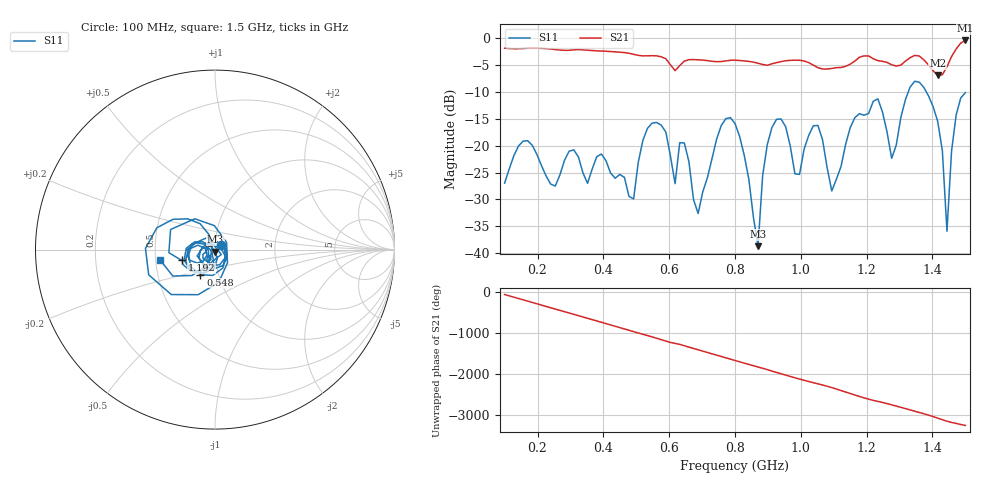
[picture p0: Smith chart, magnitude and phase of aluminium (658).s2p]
! NanoVNA-App
! Date: 2025-09-25 15:00:24
! Start: 100MHz Stop: 1,5GHz Points: 101
! S-Parameter data: F S11 S21 S12 S22
# Hz S RI R 50
!  Frequency  S11_Real  S11_Imag  S21_Real  S21_Imag  S12_Real  S12_Imag  S22_Real  S22_Imag
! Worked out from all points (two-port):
!   101 points, 100 MHz to 1.5 GHz, reference 50 ohm
!   highest |S21| = -0.49 dB at 1.5 GHz (marker M1); lowest = -7.0 dB at 1.416 GHz (marker M2)
!   |S21| within 3 dB of the highest: start of sweep to 573 MHz; 1.458 GHz to end of sweep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
!   lowest |S11| = -38.7 dB at 870 MHz (marker M3), VSWR 1.02, Z = 50.2 - j1.16 ohm
!   |S11| at or under -10 dB: start of sweep to 1.327 GHz; 1.381 GHz to end of sweep
!   S12 and S22 are empty: the file has one direction only
!   S11 on the Smith chart (normalised r, x): 100 MHz: 1.07, +0.06; 548 MHz: 0.82, -0.23; 1.192 GHz: 0.69, -0.08; 1.5 GHz: 0.53, -0.07
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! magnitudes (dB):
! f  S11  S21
! 100 MHz  -27.0  -1.9
! 156 MHz  -19.2  -2.0
! 338 MHz  -25.1  -2.2
! 492 MHz  -29.9  -3.1
! 548 MHz  -15.8  -3.3
! 576 MHz  -16.2  -3.5
! 646 MHz  -19.5  -4.3
! 688 MHz  -32.6  -4.1
! 800 MHz  -15.9  -4.1
! 870 MHz  -38.7  -4.7
! 912 MHz  -16.7  -4.8
! 996 MHz  -25.3  -4.2
! 1.038 GHz  -16.3  -5.1
! 1.094 GHz  -28.4  -5.7
! 1.192 GHz  -14.4  -3.3
! 1.234 GHz  -11.3  -4.2
! 1.276 GHz  -22.4  -5.0
! 1.346 GHz  -8.1  -3.3
! 1.416 GHz  -15.6  -7.0
! 1.444 GHz  -35.9  -5.4
! 1.472 GHz  -14.3  -2.1
! 1.5 GHz  -10.2  -0.5
